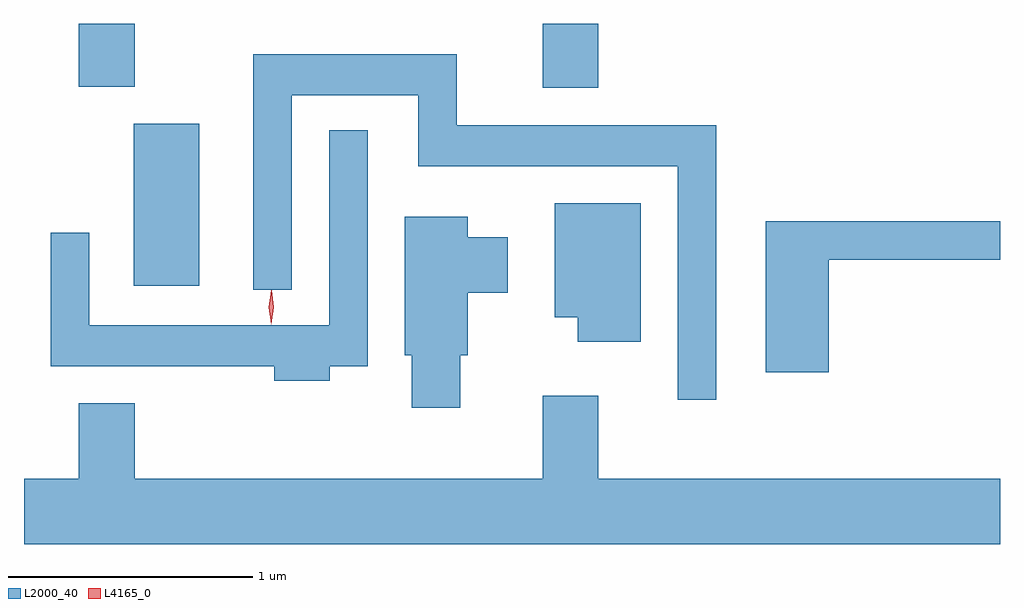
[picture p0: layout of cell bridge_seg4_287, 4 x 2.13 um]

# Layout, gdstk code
import gdstk
lib = gdstk.Library(unit=1e-6, precision=1e-09)
def R(c, l, rs):  # rectangles x0, y0, x1, y1
    for r in rs: c.add(gdstk.rectangle(r[:2], r[2:], *l))
def P(c, l, *ps):  # polygons
    for p in ps: c.add(gdstk.Polygon(p, *l))
L2000_40 = (2000, 40)
L4165_0 = (4165, 0)

bridge_seg4_287 = lib.new_cell('bridge_seg4_287')
R(bridge_seg4_287, L2000_40, [(516.076,1331.316,516.344,1331.979), (517.751,1332.126,517.979,1332.389), (515.851,1332.131,516.079,1332.389)])
P(bridge_seg4_287, L2000_40, [(518.464,1331.974),(517.399,1331.974),(517.399,1332.264),(516.566,1332.264),(516.566,1331.298),(516.724,1331.298),(516.724,1332.096),(517.241,1332.096),(517.241,1331.806),(518.306,1331.806),(518.306,1330.848),(518.464,1330.848)],
  [(516.879,1330.986),(517.034,1330.986),(517.034,1331.953),(516.876,1331.953),(516.876,1331.154),(515.894,1331.154),(515.894,1331.533),(515.736,1331.533),(515.736,1330.986),(516.651,1330.986),(516.651,1330.926),(516.879,1330.926)],
  [(518.154,1331.654),(517.801,1331.654),(517.801,1331.186),(517.896,1331.186),(517.896,1331.086),(518.154,1331.086)],
  [(517.414,1331.031),(517.444,1331.031),(517.444,1331.286),(517.609,1331.286),(517.609,1331.514),(517.444,1331.514),(517.444,1331.599),(517.186,1331.599),(517.186,1331.031),(517.216,1331.031),(517.216,1330.816),(517.414,1330.816)],
  [(518.924,1331.421),(519.626,1331.421),(519.626,1331.579),(518.666,1331.579),(518.666,1330.961),(518.924,1330.961)],
  [(519.626,1330.524),(517.979,1330.524),(517.979,1330.864),(517.751,1330.864),(517.751,1330.524),(516.079,1330.524),(516.079,1330.834),(515.851,1330.834),(515.851,1330.524),(515.626,1330.524),(515.626,1330.256),(519.626,1330.256)])
P(bridge_seg4_287, L4165_0, [(516.639,1331.157),(516.63,1331.227),(516.64,1331.296),(516.64,1331.296),(516.641,1331.296),(516.65,1331.227),(516.64,1331.157),(516.64,1331.157)])

lib.write_gds('bridge_seg4_287.gds')
